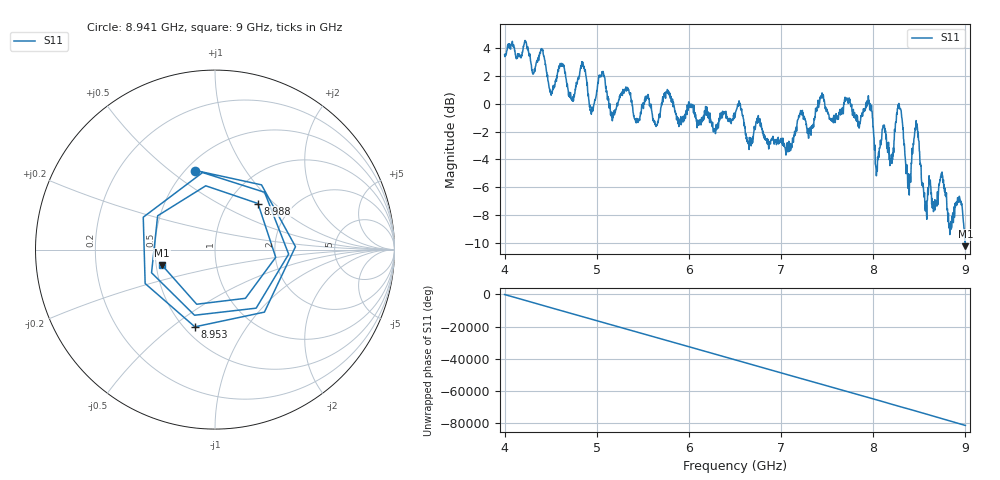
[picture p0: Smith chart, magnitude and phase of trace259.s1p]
! Created with skrf 1.8.0 (http://scikit-rf.org).
# Hz S RI R 50.0
!freq ReS11 ImS11
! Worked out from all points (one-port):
!   1601 points, 4 GHz to 9 GHz, reference 50 ohm
!   lowest |S11| = -10.2 dB at 9 GHz (marker M1), VSWR 1.89, Z = 26.9 - j5.15 ohm
!   |S11| at or under -10 dB: 8.998056 GHz to end of sweep
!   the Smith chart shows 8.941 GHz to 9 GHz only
!   S11 on the Smith chart (normalised r, x): 8.941 GHz: 0.56, +0.62; 8.953 GHz: 0.56, -0.61; 8.988 GHz: 1.36, +0.80; 9 GHz: 0.54, -0.10
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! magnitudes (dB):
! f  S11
! 4 GHz  3.5
! 4.406 GHz  4.0
! 4.506 GHz  0.6
! 4.625 GHz  2.7
! 4.725 GHz  0.4
! 4.853 GHz  2.8
! 4.944 GHz  -0.5
! 5.047 GHz  2.0
! 5.169 GHz  -1.2
! 5.25 GHz  0.4
! 5.875 GHz  -1.1
! 6.5 GHz  -1.0
! 7.125 GHz  -2.5
! 7.438 GHz  0.5
! 7.75 GHz  0.0
! 7.962 GHz  -0.4
! 8.038 GHz  -4.8
! 8.116 GHz  -1.7
! 8.2 GHz  -4.1
! 8.288 GHz  -0.4
! 8.375 GHz  -6.1
! 8.469 GHz  -1.7
! 8.562 GHz  -7.5
! 8.834 GHz  -9.0
! 8.941 GHz  -6.9
! 8.953 GHz  -7.0
! 8.988 GHz  -9.1
! 9 GHz  -10.2
